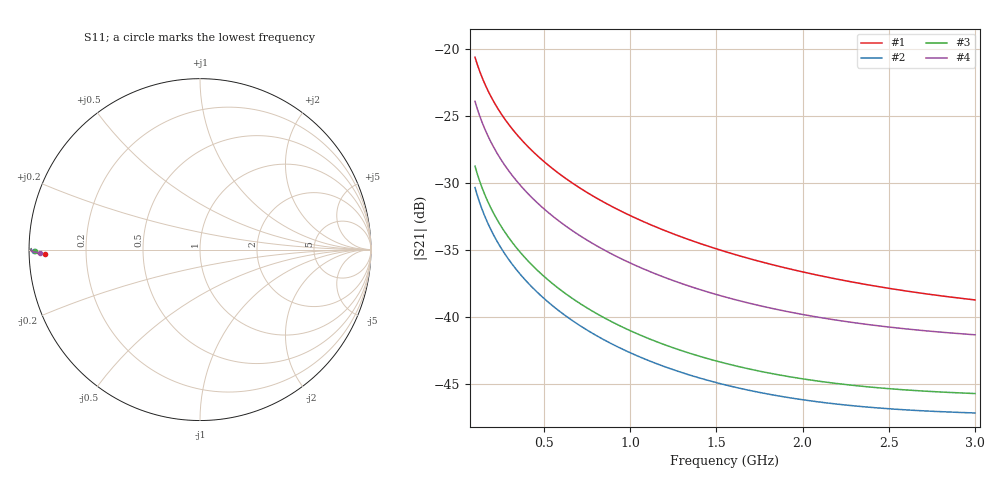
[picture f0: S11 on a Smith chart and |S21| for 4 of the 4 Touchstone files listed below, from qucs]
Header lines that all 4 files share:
# HZ S RI R 50
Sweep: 100 MHz to 3 GHz
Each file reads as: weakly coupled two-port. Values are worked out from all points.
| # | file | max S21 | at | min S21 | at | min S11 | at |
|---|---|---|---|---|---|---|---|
| 1 | Ligne_25mm_vide.s2p | -20.58 dB | 100 MHz | -38.7 dB | 3 GHz | -0.8 dB | 100 MHz |
| 2 | Ligne_35mm_2FR4.s2p | -30.32 dB | 100 MHz | -47.2 dB | 3 GHz | -0.3 dB | 100 MHz |
| 3 | Ligne_35mm_4Rogers.s2p | -28.72 dB | 100 MHz | -45.7 dB | 3 GHz | -0.3 dB | 100 MHz |
| 4 | Ligne_35mm_vide.s2p | -23.87 dB | 100 MHz | -41.3 dB | 3 GHz | -0.6 dB | 100 MHz |
